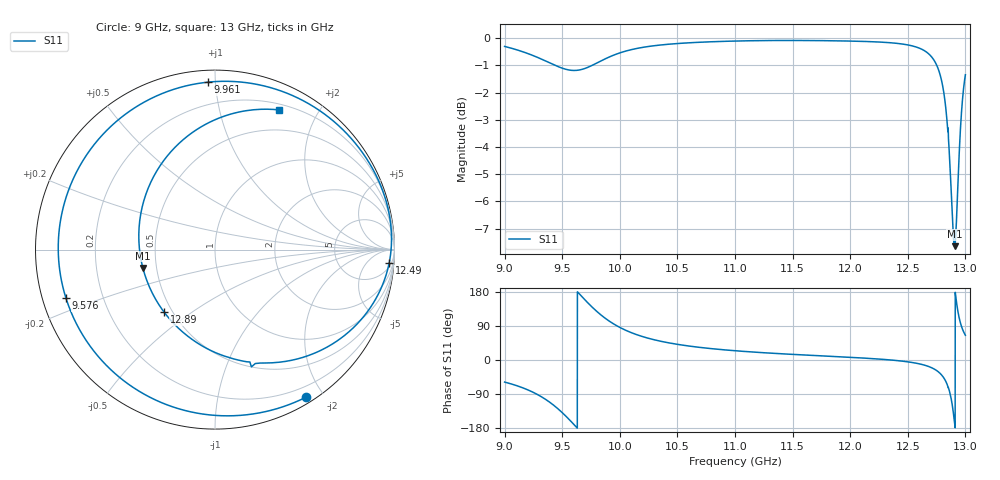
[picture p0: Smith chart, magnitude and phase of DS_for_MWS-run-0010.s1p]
! TOUCHSTONE file generated by CST DESIGN STUDIO
! Date and time: Tue Feb  4 15:45:06 2025
! Project name: C:\Work\MatlabApps\UnitCellOptimizationMatlab\CST\unitcell.cst
! Tree item: Tasks\Sweep1\SPara1\S-Parameters
! Header version: 2024
! Port assignment regex: !\s*Touchstone port\s*([0-9]+)\s*=\s*(CST MWS port|CST DES external port|CST DES block port)\s*(.+)\s* \(\"(.*)\"\)(\s*mode\s*([0-9]+))?.*
! Touchstone port assignment:
! Touchstone port 1 = CST DES external port 1 ("")
# GHz S MA R 50
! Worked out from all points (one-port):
!   4001 points, 9 GHz to 13 GHz, reference 50 ohm
!   lowest |S11| = -7.6 dB at 12.91 GHz (marker M1), VSWR 2.42, Z = 21 - j5.18 ohm
!   |S11| at or under -10 dB: nowhere
!   S11 on the Smith chart (normalised r, x): 9 GHz: 0.07, -1.79; 9.576 GHz: 0.07, -0.16; 9.961 GHz: 0.07, +0.95; 12.49 GHz: 8, -24; 12.89 GHz: 0.45, -0.39; 13 GHz: 0.26, +1.53
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9  0.9661 -58.3
9.162  0.9439 -73.9
9.313  0.917 -95.8
9.412  0.897 -116.1
9.5  0.8811 -138.8
9.576  0.8733 -161.9
9.674  0.8769 166.2
9.784  0.8969 132.7
9.867  0.9153 111.6
9.961  0.9336 92.6
10  0.94 86.0
10.217  0.9636 60.0
10.5  0.978 41.3
11  0.9883 24.5
11.5  0.9908 14.8
12  0.9882 7.1
12.487  0.9734 -4.3
12.5  0.9723 -4.9
12.673  0.9395 -16.3
12.768  0.8737 -31.9
12.811  0.7985 -46.5
12.848  0.6733 -70.5
12.87  0.5622 -92.5
12.891  0.4495 -129.0
12.906  0.4148 -165.7
12.927  0.4872 143.4
12.953  0.6571 102.3
13  0.857 65.2
